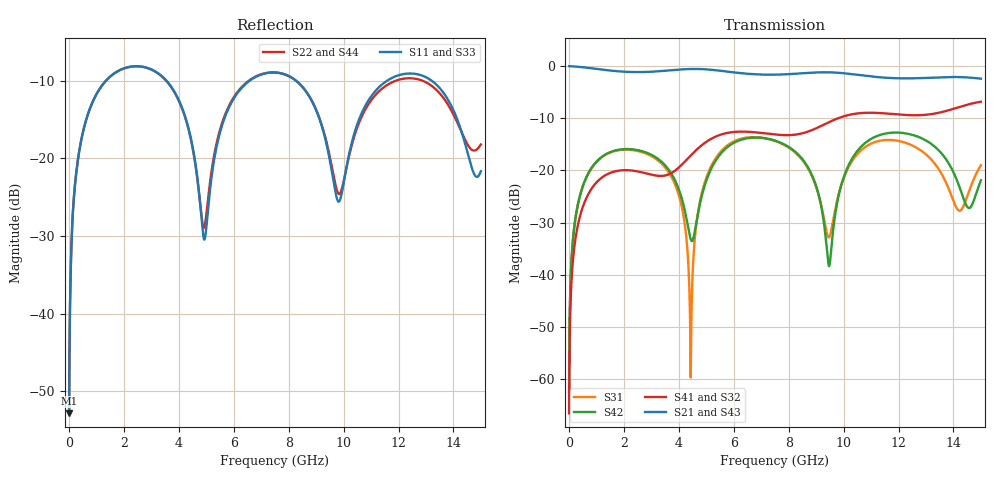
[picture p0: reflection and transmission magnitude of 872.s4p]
! Created with skrf 1.8.0 (http://scikit-rf.org).
# GHz S RI R 50.0
!freq ReS11 ImS11 ReS12 ImS12 ReS13 ImS13
! ReS14 ImS14
! ReS21 ImS21 ReS22 ImS22 ReS23 ImS23
! ReS24 ImS24
! ReS31 ImS31 ReS32 ImS32 ReS33 ImS33
! ReS34 ImS34
! ReS41 ImS41 ReS42 ImS42 ReS43 ImS43
! ReS44 ImS44
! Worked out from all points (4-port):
!   2499 points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, 5 MHz to 15 GHz, reference 50 ohm
!   strongest paths, dB at 5 MHz, 3.476 GHz, 7.19 GHz, 11.1 GHz, 15 GHz:
!     S21: 0.0, -0.9, -1.6, -2.0, -2.4
!     S43: 0.0, -0.9, -1.6, -2.0, -2.4
!     S41: -66.5, -21.0, -12.9, -8.9, -6.8
!     S32: -66.5, -21.0, -13.0, -9.0, -6.8
!     S42: -62.5, -18.9, -13.9, -13.7, -21.9
!     S31: -62.5, -19.3, -13.9, -14.6, -19.0
!   lowest |S11| = -52.8 dB at 5 MHz (marker M1), VSWR 1.00, Z = 50.2 + j0.139 ohm
!   |S11| at or under -10 dB: 3.55 GHz to 6.578 GHz (3.027 GHz wide, 59.8 % of centre); 8.267 GHz to 11.58 GHz (3.318 GHz wide, 33.4 % of centre); 13.21 GHz to end of sweep (the widest 3 of 4)
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0.005  0.00182 0.00138  0.9981 -0.00354  9.27e-05 0.000742  -8.99e-05 -0.000463
       0.9981 -0.00354  0.00182 0.00138  -8.99e-05 -0.000463  9.28e-05 0.000742
       9.27e-05 0.000742  -8.99e-05 -0.000463  0.00182 0.00138  0.9981 -0.00354
       -8.99e-05 -0.000463  9.28e-05 0.000742  0.9981 -0.00354  0.00182 0.00138
0.3126303  0.0288 0.0899  0.9606 -0.2194  0.0135 0.0435  -0.0114 -0.0266
           0.9606 -0.2194  0.0287 0.0899  -0.0113 -0.0266  0.0139 0.0434
           0.0135 0.0435  -0.0113 -0.0266  0.0288 0.0899  0.9606 -0.2194
           -0.0114 -0.0266  0.0139 0.0434  0.9606 -0.2194  0.0287 0.0899
1.469362  0.2859 0.17  0.5145 -0.7482  0.1342 0.0609  -0.094 -0.000249
          0.5145 -0.7482  0.2846 0.171  -0.0939 -0.000397  0.138 0.0553
          0.1342 0.0609  -0.0939 -0.000397  0.2861 0.17  0.5145 -0.7482
          -0.094 -0.000249  0.138 0.0553  0.5145 -0.7482  0.2846 0.1711
4.433097  0.0656 -0.1196  -0.8633 -0.3662  0.00102 0.000165  -0.0492 0.1301
          -0.8633 -0.3662  0.07 -0.114  -0.051 0.1294  -0.0195 -0.0101
          0.00102 0.000165  -0.051 0.1294  0.0653 -0.1211  -0.8631 -0.3663
          -0.0492 0.1301  -0.0195 -0.0101  -0.8631 -0.3663  0.0713 -0.1147
5.696123  0.1265 0.1388  -0.8049 0.3798  0.1213 0.1158  0.1302 0.1857
          -0.8049 0.3798  0.1334 0.14  0.1275 0.1872  0.1085 0.1191
          0.1213 0.1158  0.1275 0.1872  0.1256 0.1386  -0.805 0.3801
          0.1302 0.1857  0.1085 0.1191  -0.805 0.3801  0.1335 0.1382
9.954148  0.0564 0.0264  0.852 0.0885  0.00617 0.0774  0.0167 -0.3265
          0.852 0.0885  0.0619 0.0209  0.0258 -0.326  0.0255 0.0741
          0.00617 0.0774  0.0258 -0.326  0.0551 0.0235  0.8521 0.0872
          0.0167 -0.3265  0.0255 0.0741  0.8521 0.0872  0.0636 0.0165
15  0.0799 0.0207  -0.7495 -0.1122  0.0134 0.1114  -0.0389 0.4539
    -0.7495 -0.1122  0.1193 0.0297  -0.057 0.4516  0.0168 0.0788
    0.0134 0.1114  -0.057 0.4516  0.0822 0.0231  -0.7505 -0.1044
    -0.0389 0.4539  0.0168 0.0788  -0.7505 -0.1044  0.1168 0.0263
